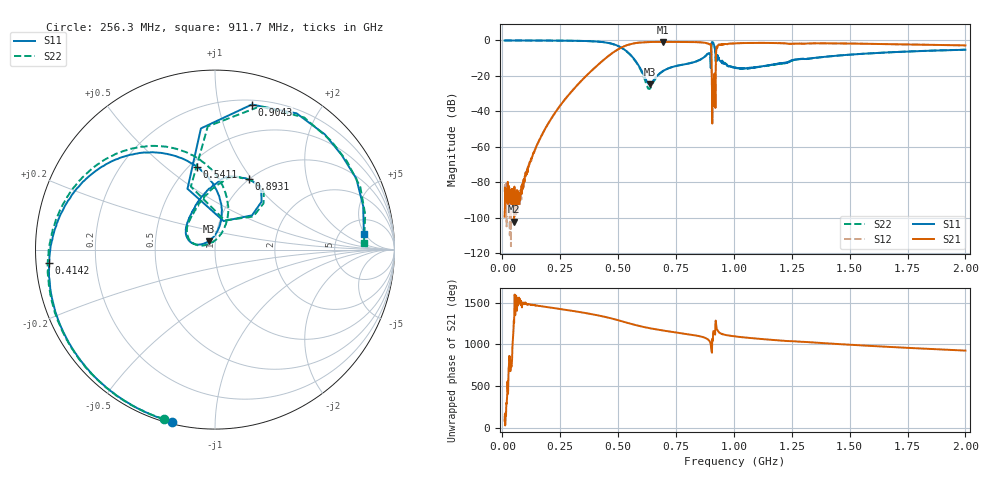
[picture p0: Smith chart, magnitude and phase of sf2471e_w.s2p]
!Keysight Technologies,E5080A,MY55200989,A.11.70.00
!Date: Wednesday, December 19, 2018 13:11:43
!Correction: S11(Full 2 Port(1,2))
!S21(Full 2 Port(1,2))
!S12(Full 2 Port(1,2))
!S22(Full 2 Port(1,2))
!S2P File: Measurements: S11, S21, S12, S22:
# Hz S  RI  R 50
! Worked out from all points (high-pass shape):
!   1601 points, 10 MHz to 2 GHz, reference 50 ohm
!   highest |S21| = -0.81 dB at 695.3 MHz (marker M1); lowest = -102.2 dB at 51.04 MHz (marker M2)
!   |S21| within 3 dB of the highest: 517 MHz to 901.8 MHz (384.8 MHz wide, 54.2 % of centre); 928.7 MHz to end of sweep (the widest 2 of 3)
!   lowest |S11| = -24.7 dB at 636.9 MHz (marker M3), VSWR 1.12, Z = 46.3 + j4.27 ohm
!   |S11| at or under -10 dB: 566.6 MHz to 865.5 MHz (298.9 MHz wide, 41.7 % of centre); 921.1 MHz to 927.4 MHz (6.259 MHz wide, 0.677 % of centre); 933.7 MHz to 1.338 GHz (404 MHz wide, 35.6 % of centre) (the widest 3 of 4)
!   |S22| runs from -27.3 to 0.0 dB; largest |S21 - S12| = 0.002
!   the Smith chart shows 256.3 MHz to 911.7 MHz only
!   S11 on the Smith chart (normalised r, x): 256.3 MHz: 0.01, -0.78; 414.2 MHz: 0.04, -0.04; 541.1 MHz: 0.55, +0.65; 893.1 MHz: 1.00, +0.96; 904.3 MHz: 0.24, +1.26; 911.7 MHz: 8.28, +4.76
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1e7  0.997 -0.0719  6.9e-07 1.08e-05  -1.32e-05 5.33e-05  0.9974 -0.0739
5.104375e7  0.9342 -0.3561  -7.73e-06 2.59e-07  -2.5e-05 1.27e-05  0.9318 -0.3643
8.96e7  0.8027 -0.5947  4.19e-05 5.27e-05  3.41e-05 5.51e-05  0.7931 -0.6077
2.562625e8  -0.2376 -0.9591  0.0155 -0.00569  0.0155 -0.00571  -0.2833 -0.9445
3.420812e8  -0.7475 -0.6211  0.0394 -0.0623  0.0397 -0.0623  -0.7842 -0.5704
4.142188e8  -0.9244 -0.0757  -0.0148 -0.2089  -0.0148 -0.2088  -0.926 0.000274
4.863562e8  -0.5865 0.4864  -0.3853 -0.3111  -0.3847 -0.3112  -0.5306 0.5418
5.410812e8  -0.0996 0.4596  -0.7454 0.0481  -0.7444 0.0479  -0.0385 0.4641
6.3685e8  -0.0361 0.046  -0.3501 0.8332  -0.3501 0.8337  -0.0275 0.0337
6.741625e8  -0.1058 0.0289  -0.0679 0.9072  -0.0674 0.9077  -0.1032 0.0261
6.953062e8  -0.1334 0.0404  0.0833 0.9067  0.0827 0.9062  -0.1317 0.042
8.283875e8  -0.1267 0.2098  0.7798 0.4458  0.7801 0.4458  -0.1107 0.2202
8.768938e8  -0.00395 0.3611  0.8582 -0.053  0.8586 -0.054  0.0164 0.3623
8.930625e8  0.1879 0.3918  0.6464 -0.4505  0.6465 -0.4503  0.2073 0.3826
9.042562e8  0.2055 0.8084  -0.1713 -0.025  -0.1715 -0.025  0.2503 0.7979
9.117188e8  0.8295 0.0875  0.00797 0.0413  0.00783 0.0412  0.8301 0.0366
9.341062e8  0.3085 0.0163  0.265 0.7184  0.2651 0.7183  0.3167 0.0236
9.540062e8  0.2145 -0.0718  0.6177 0.5013  0.6174 0.502  0.2211 -0.0673
1.005e9  0.1103 -0.1294  0.7956 0.2109  0.7963 0.2108  0.1134 -0.129
1.337081e9  -0.251 -0.1903  0.4534 -0.6929  0.4536 -0.6927  -0.266 -0.1644
1.669162e9  -0.4455 0.1254  -0.2772 -0.7368  -0.2773 -0.7371  -0.4206 0.1965
2e9  -0.2789 0.4715  -0.6592 -0.3071  -0.6582 -0.3069  -0.1825 0.5182
